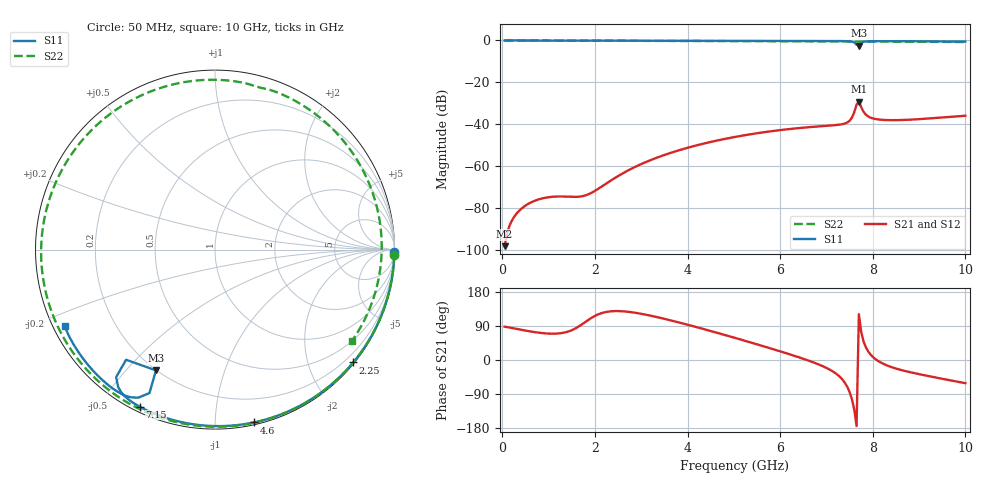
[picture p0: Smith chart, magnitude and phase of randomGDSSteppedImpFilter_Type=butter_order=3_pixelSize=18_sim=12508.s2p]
! freq	dB(S11)	phase(S11)	dB(S12)	phase(S12)
!  dB(S21)	phase(S21)	dB(S22)	phase(S22)
!S-par simulation data
#  GHz  S  DB  R 50
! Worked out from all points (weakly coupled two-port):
!   200 points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, 50 MHz to 10 GHz, reference 50 ohm
!   highest |S21| = -29.24 dB at 7.7 GHz (marker M1); lowest = -98.2 dB at 50 MHz (marker M2)
!   lowest |S11| = -2.5 dB at 7.7 GHz (marker M3), VSWR 6.97, Z = 9.89 - j30.3 ohm
!   |S11| at or under -10 dB: nowhere
!   |S22| runs from -0.8 to 0.0 dB; largest |S21 - S12| = 0
!   S11 on the Smith chart (normalised r, x): 50 MHz: open; 2.25 GHz: 0.03, -2.81; 4.6 GHz: 0.02, -1.25; 7.15 GHz: 0.02, -0.63; 10 GHz: 0.03, -0.24
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0.05  -0.00 -0.9  -98.19 87.8  -98.19 87.8  -0.01 -1.8
0.4  -0.01 -7.1  -80.54 79.8  -80.54 79.8  -0.02 -14.3
0.85  -0.02 -15.1  -75.46 71.2  -75.46 71.2  -0.04 -30.2
1.75  -0.04 -30.7  -74.23 96.6  -74.23 96.6  -0.08 -61.3
2.25  -0.05 -39.2  -68.21 126.9  -68.21 126.9  -0.10 -78.2
2.8  -0.06 -48.5  -61.09 125.9  -61.09 125.9  -0.12 -96.6
3.4  -0.08 -58.3  -55.44 111.6  -55.44 111.6  -0.15 -116.5
4.6  -0.11 -77.2  -47.95 73.1  -47.95 73.1  -0.23 -157.0
5.05  -0.13 -84.1  -45.95 57.5  -45.95 57.5  -0.26 -173.0
5.9  -0.17 -96.8  -43.06 26.7  -43.06 26.7  -0.34 154.7
6.7  -0.22 -108.6  -41.24 -5.4  -41.24 -5.4  -0.41 120.9
7.15  -0.26 -115.6  -40.49 -31.1  -40.49 -31.1  -0.46 100.2
7.5  -0.43 -123.2  -38.32 -84.7  -38.32 -84.7  -0.50 83.5
7.6  -0.92 -127.8  -34.30 -130.8  -34.30 -130.8  -0.53 78.5
7.65  -2.06 -128.9  -30.57 -174.2  -30.57 -174.2  -0.56 76.2
7.7  -2.51 -116.1  -29.24 121.0  -29.24 121.0  -0.56 74.1
7.75  -1.13 -114.5  -31.80 74.3  -31.80 74.3  -0.53 71.7
7.9  -0.42 -121.0  -36.26 22.8  -36.26 22.8  -0.52 64.1
8.35  -0.35 -129.5  -38.03 -16.4  -38.03 -16.4  -0.56 41.8
8.75  -0.38 -135.4  -37.87 -30.6  -37.87 -30.6  -0.59 22.3
9.15  -0.42 -141.1  -37.34 -41.1  -37.34 -41.1  -0.63 3.3
10  -0.55 -153.2  -35.94 -61.1  -35.94 -61.1  -0.75 -33.7
